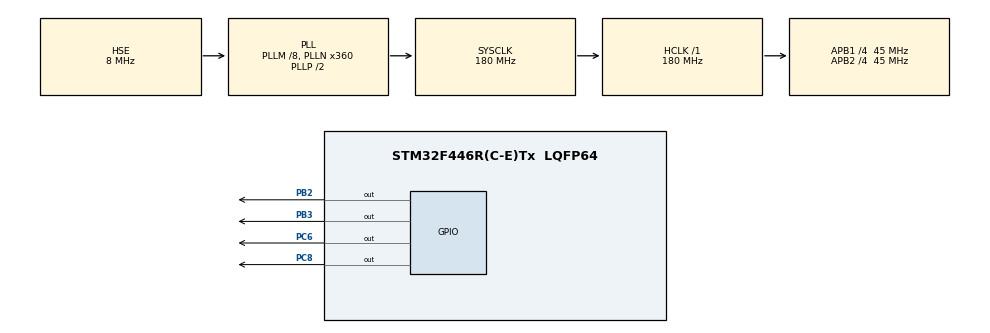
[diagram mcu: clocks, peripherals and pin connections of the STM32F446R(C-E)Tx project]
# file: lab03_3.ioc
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FREERTOS.Tasks01=led1,24,128,led1Thread,Default,NULL,Dynamic,NULL,NULL;led2,24,128,led2Thread,Default,NULL,Dynamic,NULL,NULL;led3,24,128,led3Thread,Default,NULL,Dynamic,NULL,NULL;led4,24,128,led4Thread,Default,NULL,Dynamic,NULL,NULL;pwm1,8,128,pwm1Thread,Default,NULL,Dynamic,NULL,NULL;pwm2,8,128,pwm2Thread,Default,NULL,Dynamic,NULL,NULL;pwm3,8,128,pwm3Thread,Default,NULL,Dynamic,NULL,NULL;pwm4,8,128,pwm4Thread,Default,NULL,Dynamic,NULL,NULL
FREERTOS.configUSE_NEWLIB_REENTRANT=1
Mcu.Family=STM32F4
Mcu.Name=STM32F446R(C-E)Tx
Mcu.Package=LQFP64
NVIC.PriorityGroup=NVIC_PRIORITYGROUP_4
NVIC.TIM7_IRQn=true\:15\:0\:false\:false\:true\:false\:false\:true\:true
NVIC.TimeBase=TIM7_IRQn
NVIC.TimeBaseIP=TIM7
PA13.Mode=Serial_Wire
PA13.Signal=SYS_JTMS-SWDIO
PA14.Mode=Serial_Wire
PA14.Signal=SYS_JTCK-SWCLK
PB2.Signal=GPIO_Output
PB3.Signal=GPIO_Output
PC6.Signal=GPIO_Output
PC8.Signal=GPIO_Output
PH0-OSC_IN.Mode=HSE-External-Oscillator
PH0-OSC_IN.Signal=RCC_OSC_IN
PH1-OSC_OUT.Mode=HSE-External-Oscillator
PH1-OSC_OUT.Signal=RCC_OSC_OUT
ProjectManager.HeapSize=0x200
ProjectManager.StackSize=0x400
ProjectManager.TargetToolchain=STM32CubeIDE
RCC.AHBFreq_Value=180000000
RCC.APB1CLKDivider=RCC_HCLK_DIV4
RCC.APB1Freq_Value=45000000
RCC.APB1TimFreq_Value=90000000
RCC.APB2CLKDivider=RCC_HCLK_DIV4
RCC.APB2Freq_Value=45000000
RCC.APB2TimFreq_Value=90000000
RCC.CortexFreq_Value=180000000
RCC.HCLKFreq_Value=180000000
RCC.HSE_VALUE=8000000
RCC.PLLM=8
RCC.PLLN=360
RCC.PLLSourceVirtual=RCC_PLLSOURCE_HSE
RCC.SYSCLKFreq_VALUE=180000000
RCC.SYSCLKSource=RCC_SYSCLKSOURCE_PLLCLK
RCC.USBFreq_Value=180000000
RCC.VCOOutputFreq_Value=360000000
TIM2.AutoReloadPreload=TIM_AUTORELOAD_PRELOAD_ENABLE
TIM2.Prescaler=9000-1
VP_FREERTOS_VS_CMSIS_V2.Mode=CMSIS_V2
VP_SYS_VS_tim7.Mode=TIM7
VP_TIM2_VS_ClockSourceINT.Mode=Internal
board=custom

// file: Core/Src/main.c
/* USER CODE BEGIN Header */
/**
  ******************************************************************************
  * @file           : main.c
  * @brief          : Main program body
  ******************************************************************************
  * @attention
  *
  * Copyright (c) 2026 STMicroelectronics.
  * All rights reserved.
  *
  * This software is licensed under terms that can be found in the LICENSE file
  * in the root directory of this software component.
  * If no LICENSE file comes with this software, it is provided AS-IS.
  *
  ******************************************************************************
  */
/* USER CODE END Header */
#include "main.h"
#include "cmsis_os.h"

TIM_HandleTypeDef htim2;

/* Definitions for led1 */
osThreadId_t led1Handle;
const osThreadAttr_t led1_attributes = {
  .name = "led1",
  .stack_size = 128 * 4,
  .priority = (osPriority_t) osPriorityNormal,
};
/* Definitions for led2 */
osThreadId_t led2Handle;
const osThreadAttr_t led2_attributes = {
  .name = "led2",
  .stack_size = 128 * 4,
  .priority = (osPriority_t) osPriorityNormal,
};
/* Definitions for led3 */
osThreadId_t led3Handle;
const osThreadAttr_t led3_attributes = {
  .name = "led3",
  .stack_size = 128 * 4,
  .priority = (osPriority_t) osPriorityNormal,
};
/* Definitions for led4 */
osThreadId_t led4Handle;
const osThreadAttr_t led4_attributes = {
  .name = "led4",
  .stack_size = 128 * 4,
  .priority = (osPriority_t) osPriorityNormal,
};
/* Definitions for pwm1 */
osThreadId_t pwm1Handle;
const osThreadAttr_t pwm1_attributes = {
  .name = "pwm1",
  .stack_size = 128 * 4,
  .priority = (osPriority_t) osPriorityLow,
};
/* Definitions for pwm2 */
osThreadId_t pwm2Handle;
const osThreadAttr_t pwm2_attributes = {
  .name = "pwm2",
  .stack_size = 128 * 4,
  .priority = (osPriority_t) osPriorityLow,
};
/* Definitions for pwm3 */
osThreadId_t pwm3Handle;
const osThreadAttr_t pwm3_attributes = {
  .name = "pwm3",
  .stack_size = 128 * 4,
  .priority = (osPriority_t) osPriorityLow,
};
/* Definitions for pwm4 */
osThreadId_t pwm4Handle;
const osThreadAttr_t pwm4_attributes = {
  .name = "pwm4",
  .stack_size = 128 * 4,
  .priority = (osPriority_t) osPriorityLow,
};
/* USER CODE BEGIN PV */
GPIO_TypeDef *ledPort[4] = {GPIOB,GPIOC,GPIOC,GPIOB};
int ledGPIO[4] = {GPIO_PIN_2,GPIO_PIN_6,GPIO_PIN_8,GPIO_PIN_3};
int pwm[4]={0};
/* USER CODE END PV */

void SystemClock_Config(void);
static void MX_GPIO_Init(void);
static void MX_TIM2_Init(void);
void led1Thread(void *argument);
void led2Thread(void *argument);
void led3Thread(void *argument);
void led4Thread(void *argument);
void pwm1Thread(void *argument);
void pwm2Thread(void *argument);
void pwm3Thread(void *argument);
void pwm4Thread(void *argument);

/* USER CODE BEGIN PFP */
void clearTimer();
uint32_t getTimer();
void uDelay(uint32_t us);
/* USER CODE END PFP */

int main(void)
{

  /* MCU Configuration--------------------------------------------------------*/

  /* Reset of all peripherals, Initializes the Flash interface and the Systick. */
  HAL_Init();

  /* Configure the system clock */
  SystemClock_Config();

  /* Initialize all configured peripherals */
  MX_GPIO_Init();
  MX_TIM2_Init();
  /* USER CODE BEGIN 2 */
  HAL_TIM_Base_Start(&htim2);
  /* USER CODE END 2 */

  /* Init scheduler */
  osKernelInitialize();

  /* Create the thread(s) */
  /* creation of led1 */
  led1Handle = osThreadNew(led1Thread, NULL, &led1_attributes);

  /* creation of led2 */
  led2Handle = osThreadNew(led2Thread, NULL, &led2_attributes);

  /* creation of led3 */
  led3Handle = osThreadNew(led3Thread, NULL, &led3_attributes);

  /* creation of led4 */
  led4Handle = osThreadNew(led4Thread, NULL, &led4_attributes);

  /* creation of pwm1 */
  pwm1Handle = osThreadNew(pwm1Thread, NULL, &pwm1_attributes);

  /* creation of pwm2 */
  pwm2Handle = osThreadNew(pwm2Thread, NULL, &pwm2_attributes);

  /* creation of pwm3 */
  pwm3Handle = osThreadNew(pwm3Thread, NULL, &pwm3_attributes);

  /* creation of pwm4 */
  pwm4Handle = osThreadNew(pwm4Thread, NULL, &pwm4_attributes);

  /* Start scheduler */
  osKernelStart();

  /* We should never get here as control is now taken by the scheduler */

  /* Infinite loop */
  while (1)
  {

  }
}

void SystemClock_Config(void)
{
  RCC_OscInitTypeDef RCC_OscInitStruct = {0};
  RCC_ClkInitTypeDef RCC_ClkInitStruct = {0};

  /** Configure the main internal regulator output voltage
  */
  __HAL_RCC_PWR_CLK_ENABLE();
  __HAL_PWR_VOLTAGESCALING_CONFIG(PWR_REGULATOR_VOLTAGE_SCALE1);

  /** Initializes the RCC Oscillators according to the specified parameters
  * in the RCC_OscInitTypeDef structure.
  */
  RCC_OscInitStruct.OscillatorType = RCC_OSCILLATORTYPE_HSE;
  RCC_OscInitStruct.HSEState = RCC_HSE_ON;
  RCC_OscInitStruct.PLL.PLLState = RCC_PLL_ON;
  RCC_OscInitStruct.PLL.PLLSource = RCC_PLLSOURCE_HSE;
  RCC_OscInitStruct.PLL.PLLM = 8;
  RCC_OscInitStruct.PLL.PLLN = 360;
  RCC_OscInitStruct.PLL.PLLP = RCC_PLLP_DIV2;
  RCC_OscInitStruct.PLL.PLLQ = 2;
  RCC_OscInitStruct.PLL.PLLR = 2;
  if (HAL_RCC_OscConfig(&RCC_OscInitStruct) != HAL_OK)
  {
    Error_Handler();
  }

  /** Activate the Over-Drive mode
  */
  if (HAL_PWREx_EnableOverDrive() != HAL_OK)
  {
    Error_Handler();
  }

  /** Initializes the CPU, AHB and APB buses clocks
  */
  RCC_ClkInitStruct.ClockType = RCC_CLOCKTYPE_HCLK|RCC_CLOCKTYPE_SYSCLK
                              |RCC_CLOCKTYPE_PCLK1|RCC_CLOCKTYPE_PCLK2;
  RCC_ClkInitStruct.SYSCLKSource = RCC_SYSCLKSOURCE_PLLCLK;
  RCC_ClkInitStruct.AHBCLKDivider = RCC_SYSCLK_DIV1;
  RCC_ClkInitStruct.APB1CLKDivider = RCC_HCLK_DIV4;
  RCC_ClkInitStruct.APB2CLKDivider = RCC_HCLK_DIV4;

  if (HAL_RCC_ClockConfig(&RCC_ClkInitStruct, FLASH_LATENCY_5) != HAL_OK)
  {
    Error_Handler();
  }
}

static void MX_TIM2_Init(void)
{

  TIM_ClockConfigTypeDef sClockSourceConfig = {0};
  TIM_MasterConfigTypeDef sMasterConfig = {0};

  htim2.Instance = TIM2;
  htim2.Init.Prescaler = 9000-1;
  htim2.Init.CounterMode = TIM_COUNTERMODE_UP;
  htim2.Init.Period = 4294967295;
  htim2.Init.ClockDivision = TIM_CLOCKDIVISION_DIV1;
  htim2.Init.AutoReloadPreload = TIM_AUTORELOAD_PRELOAD_ENABLE;
  if (HAL_TIM_Base_Init(&htim2) != HAL_OK)
  {
    Error_Handler();
  }
  sClockSourceConfig.ClockSource = TIM_CLOCKSOURCE_INTERNAL;
  if (HAL_TIM_ConfigClockSource(&htim2, &sClockSourceConfig) != HAL_OK)
  {
    Error_Handler();
  }
  sMasterConfig.MasterOutputTrigger = TIM_TRGO_RESET;
  sMasterConfig.MasterSlaveMode = TIM_MASTERSLAVEMODE_DISABLE;
  if (HAL_TIMEx_MasterConfigSynchronization(&htim2, &sMasterConfig) != HAL_OK)
  {
    Error_Handler();
  }

}

static void MX_GPIO_Init(void)
{
  GPIO_InitTypeDef GPIO_InitStruct = {0};

  /* GPIO Ports Clock Enable */
  __HAL_RCC_GPIOH_CLK_ENABLE();
  __HAL_RCC_GPIOB_CLK_ENABLE();
  __HAL_RCC_GPIOC_CLK_ENABLE();
  __HAL_RCC_GPIOA_CLK_ENABLE();

  /*Configure GPIO pin Output Level */
  HAL_GPIO_WritePin(GPIOB, GPIO_PIN_2|GPIO_PIN_3, GPIO_PIN_RESET);

  /*Configure GPIO pin Output Level */
  HAL_GPIO_WritePin(GPIOC, GPIO_PIN_6|GPIO_PIN_8, GPIO_PIN_RESET);

  /*Configure GPIO pins : PB2 PB3 */
  GPIO_InitStruct.Pin = GPIO_PIN_2|GPIO_PIN_3;
  GPIO_InitStruct.Mode = GPIO_MODE_OUTPUT_PP;
  GPIO_InitStruct.Pull = GPIO_NOPULL;
  GPIO_InitStruct.Speed = GPIO_SPEED_FREQ_LOW;
  HAL_GPIO_Init(GPIOB, &GPIO_InitStruct);

  /*Configure GPIO pins : PC6 PC8 */
  GPIO_InitStruct.Pin = GPIO_PIN_6|GPIO_PIN_8;
  GPIO_InitStruct.Mode = GPIO_MODE_OUTPUT_PP;
  GPIO_InitStruct.Pull = GPIO_NOPULL;
  GPIO_InitStruct.Speed = GPIO_SPEED_FREQ_LOW;
  HAL_GPIO_Init(GPIOC, &GPIO_InitStruct);

}

/* USER CODE BEGIN 4 */
void clearTimer(){
	__HAL_TIM_SetCounter(&htim2,0);
}

uint32_t getTimer(){
	return __HAL_TIM_GetCounter(&htim2);
}

void uDelay(uint32_t us){
	uint32_t start;
	uint32_t finish = (start =__HAL_TIM_GetCounter(&htim2)) + us;
	if(start > finish){
		while(__HAL_TIM_GetCounter(&htim2)>start)
			osThreadYield(); // wait until it overruns
	}
	while(__HAL_TIM_GetCounter(&htim2)<finish)
		osThreadYield();
}
/* USER CODE END 4 */

void led1Thread(void *argument)
{
  /* USER CODE BEGIN 5 */
	int i;
  /* Infinite loop */
  for(;;)
  {
	  for(i=0;i<100;i++){
		  pwm[0]=i;
		  osDelay(1);
	  }
	  for(i=100;i>0;i--){
		  pwm[0]=i;
		  osDelay(1);
	  }
  }
  /* USER CODE END 5 */
}

void led2Thread(void *argument)
{
  /* USER CODE BEGIN led2Thread */
	int i;
  /* Infinite loop */
  for(;;)
  {
	  for(i=0;i<100;i++){
		  pwm[1]=i;
		  osDelay(2);
	  }
	  for(i=100;i>0;i--){
		  pwm[1]=i;
		  osDelay(2);
	  }
  }
  /* USER CODE END led2Thread */
}

void led3Thread(void *argument)
{
  /* USER CODE BEGIN led3Thread */
	int i;
  /* Infinite loop */
  for(;;)
  {
	  for(i=0;i<100;i++){
		  pwm[2]=i;
		  osDelay(4);
	  }
	  for(i=100;i>0;i--){
		  pwm[2]=i;
		  osDelay(4);
	  }
  }
  /* USER CODE END led3Thread */
}

void led4Thread(void *argument)
{
  /* USER CODE BEGIN led4Thread */
	int i;
  /* Infinite loop */
  for(;;)
  {
	  for(i=0;i<100;i++){
		  pwm[3]=i;
		  osDelay(8);
	  }
	  for(i=100;i>0;i--){
		  pwm[3]=i;
		  osDelay(8);
	  }
  }
  /* USER CODE END led4Thread */
}

void pwm1Thread(void *argument)
{
  /* USER CODE BEGIN pwm1Thread */
	int pOn,pOff;
  /* Infinite loop */
  for(;;)
  {
	  pOn = pwm[0]*2;
	  pOff = 200-pOn;
	  HAL_GPIO_WritePin(ledPort[0],ledGPIO[0],1);
      uDelay(pOn);
	  HAL_GPIO_WritePin(ledPort[0],ledGPIO[0],0);
      uDelay(pOff);
  }
  /* USER CODE END pwm1Thread */
}

void pwm2Thread(void *argument)
{
  /* USER CODE BEGIN pwm2Thread */
	int pOn,pOff;
  /* Infinite loop */
  for(;;)
  {
	  pOn = pwm[1]*2;
	  pOff = 200-pOn;
	  HAL_GPIO_WritePin(ledPort[1],ledGPIO[1],1);
      uDelay(pOn);
	  HAL_GPIO_WritePin(ledPort[1],ledGPIO[1],0);
      uDelay(pOff);
  }
  /* USER CODE END pwm2Thread */
}

void pwm3Thread(void *argument)
{
  /* USER CODE BEGIN pwm3Thread */
	int pOn,pOff;
  /* Infinite loop */
  for(;;)
  {
	  pOn = pwm[2]*2;
	  pOff = 200-pOn;
	  HAL_GPIO_WritePin(ledPort[2],ledGPIO[2],1);
      uDelay(pOn);
	  HAL_GPIO_WritePin(ledPort[2],ledGPIO[2],0);
      uDelay(pOff);
  }
  /* USER CODE END pwm3Thread */
}

void pwm4Thread(void *argument)
{
  /* USER CODE BEGIN pwm4Thread */
	int pOn,pOff;
  /* Infinite loop */
  for(;;)
  {
	  pOn = pwm[3]*2;
	  pOff = 200-pOn;
	  HAL_GPIO_WritePin(ledPort[3],ledGPIO[3],1);
      uDelay(pOn);
	  HAL_GPIO_WritePin(ledPort[3],ledGPIO[3],0);
      uDelay(pOff);
  }
  /* USER CODE END pwm4Thread */
}

void HAL_TIM_PeriodElapsedCallback(TIM_HandleTypeDef *htim)
{
  if (htim->Instance == TIM7)
  {
    HAL_IncTick();
  }
}

void Error_Handler(void)
{
  __disable_irq();
  while (1)
  {
  }
}
